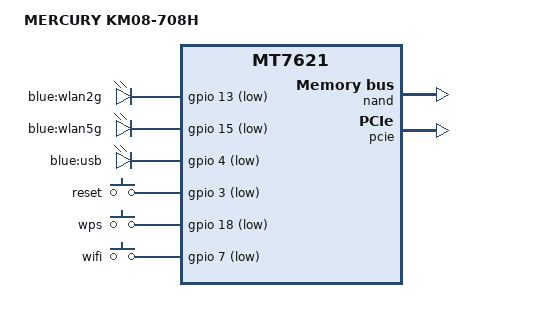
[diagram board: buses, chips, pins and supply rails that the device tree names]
// SPDX-License-Identifier: GPL-2.0-or-later OR MIT

#include "mt7621.dtsi"

#include <dt-bindings/gpio/gpio.h>
#include <dt-bindings/input/input.h>

/ {
	compatible = "mercury,KM08-708H-v2", "mediatek,mt7621-soc";
	model = "MERCURY KM08-708H";

	aliases {
		led-boot = &led_usb;
		led-failsafe = &led_usb;
		led-upgrade = &led_usb;
		label-mac-device = &gmac0;
	};

	leds {
		compatible = "gpio-leds";

		wlan2g {
			label = "blue:wlan2g";
			gpios = <&gpio 13 GPIO_ACTIVE_LOW>;
			linux,default-trigger = "phy0radio";
		};

		wlan5g {
			label = "blue:wlan5g";
			gpios = <&gpio 15 GPIO_ACTIVE_LOW>;
			linux,default-trigger = "phy1radio";
		};

		led_usb: usb {
			label = "blue:usb";
			gpios = <&gpio 4 GPIO_ACTIVE_LOW>;
			trigger-sources = <&ehci_port2>;
			linux,default-trigger = "usbport";
		};
	};

	keys {
		compatible = "gpio-keys";

		reset {
			label = "reset";
			gpios = <&gpio 3 GPIO_ACTIVE_LOW>;
			linux,code = <KEY_RESTART>;
		};

		wps {
			label = "wps";
			gpios = <&gpio 18 GPIO_ACTIVE_LOW>;
			linux,code = <KEY_WPS_BUTTON>;
		};

		wifi {
			label = "wifi";
			gpios = <&gpio 7 GPIO_ACTIVE_LOW>;
			linux,code = <KEY_RFKILL>;
		};
	};
};

&nand {
	status = "okay";

	partitions {
		compatible = "fixed-partitions";
		#address-cells = <1>;
		#size-cells = <1>;

		partition@0 {
			label = "Bootloader";
			reg = <0x0 0x80000>;
			read-only;
		};

		partition@80000 {
			label = "Config";
			reg = <0x80000 0x40000>;
		};

		partition@c0000 {
			label = "Bdata";
			reg = <0xc0000 0x40000>;
			read-only;
		};

		factory: partition@100000 {
			label = "factory";
			reg = <0x100000 0x40000>;
			read-only;
		};

		partition@140000 {
			label = "crash";
			reg = <0x140000 0x40000>;
		};

		partition@180000 {
			label = "crash_syslog";
			reg = <0x180000 0x40000>;
		};

		partition@1c0000 {
			label = "reserved0";
			reg = <0x1c0000 0x40000>;
			read-only;
		};

		/* uboot expects to find kernels at 0x200000 & 0x600000
		 * referred to as system 1 & system 2 respectively.
		 * a kernel is considered suitable for handing control over
		 * if its linux magic number exists & uImage CRC are correct.
		 * If either of those conditions fail, a matching sys'n'_fail flag
		 * is set in uboot env & a restart performed in the hope that the
		 * alternate kernel is okay.
		 * if neither kernel checksums ok and both are marked failed, system 2
		 * is booted anyway.
		 *
		 * Note uboot's tftp flash install writes the transferred
		 * image to both kernel partitions.
		 */

		/* We keep stock xiaomi firmware (kernel0) here */
		partition@200000 {
			label = "kernel_stock";
			reg = <0x200000 0x400000>;
		};

		partition@600000 {
			label = "kernel";
			reg = <0x600000 0x400000>;
		};

		/* ubi partition is the result of squashing
		 * next consecutive stock partitions:
		 * - rootfs0 (rootfs partition for stock kernel0),
		 * - rootfs1 (rootfs partition for stock failsafe kernel1),
		 * - overlay (used as ubi overlay in stock fw)
		 * resulting 117,5MiB space for packages.
		 */

		partition@a00000 {
			label = "ubi";
			reg = <0xa00000 0x7580000>;
		};
	};
};

&pcie {
	status = "okay";
};

&pcie0 {
	mt76@0,0 {
		reg = <0x0000 0 0 0 0>;
		mediatek,mtd-eeprom = <&factory 0x0000>;
		/*led {
			led-sources = <3>;
			led-active-low;
		};*/
	};
};

&gmac0 {
	nvmem-cells = <&macaddr_factory_e000>;
	nvmem-cell-names = "mac-address";
};

&switch0 {
	ports {
		port@1 {
			status = "okay";
			label = "lan4";
		};

		port@2 {
			status = "okay";
			label = "lan3";
		};

		port@3 {
			status = "okay";
			label = "lan2";
		};

		port@4 {
			status = "okay";
			label = "lan1";
		};

		port@0 {
			status = "okay";
			label = "wan";
			nvmem-cells = <&macaddr_factory_e006>;
			nvmem-cell-names = "mac-address";
		};
	};
};

&state_default {
	gpio {
		groups = "i2c", "jtag", "uart2", "uart3", "wdt";
		function = "gpio";
	};
};

&factory {
	compatible = "nvmem-cells";
	#address-cells = <1>;
	#size-cells = <1>;

	macaddr_factory_e000: macaddr@e000 {
		reg = <0xe000 0x6>;
	};

	macaddr_factory_e006: macaddr@e006 {
		reg = <0xe006 0x6>;
	};
};
